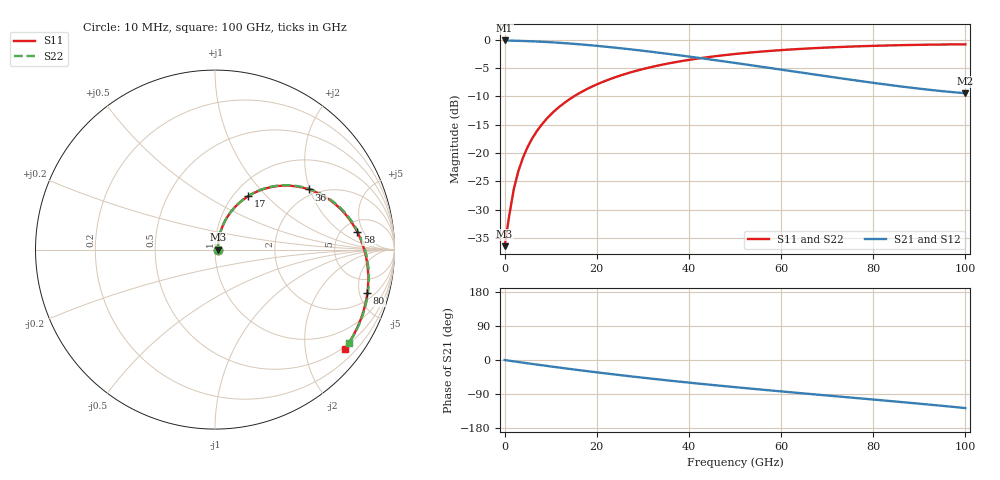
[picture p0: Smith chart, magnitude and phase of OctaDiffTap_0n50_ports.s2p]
#  GHZ S DB R 50.0
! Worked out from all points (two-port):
!   102 points, 10 MHz to 100 GHz, reference 50 ohm
!   highest |S21| = -0.13 dB at 10 MHz (marker M1); lowest = -9.5 dB at 100 GHz (marker M2)
!   |S21| within 3 dB of the highest: start of sweep to 41.39 GHz
!   lowest |S11| = -36.5 dB at 10 MHz (marker M3), VSWR 1.03, Z = 51.5 + j0.0248 ohm
!   |S11| at or under -10 dB: start of sweep to 15.08 GHz
!   |S22| runs from -36.5 to -0.8 dB; largest |S21 - S12| = 2e-09
!   S11 on the Smith chart (normalised r, x): 10 MHz: 1.03, +0.00; 17 GHz: 1.17, +0.79; 36 GHz: 1.81, +1.98; 58 GHz: 6.83, +3.74; 80 GHz: 2.69, -5.93; 100 GHz: 0.45, -2.88
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0.01  -36.48 0.9  -0.13 -0.0  -0.13 -0.0  -36.48 0.9
1  -31.13 53.7  -0.15 -1.9  -0.15 -1.9  -31.14 53.7
2  -26.41 66.9  -0.17 -3.6  -0.17 -3.6  -26.44 66.9
3  -23.20 71.2  -0.20 -5.3  -0.20 -5.3  -23.22 71.4
4  -20.83 72.6  -0.22 -7.0  -0.22 -7.0  -20.84 72.8
5  -18.96 72.7  -0.25 -8.7  -0.25 -8.7  -18.97 72.8
7  -16.16 71.4  -0.32 -12.0  -0.32 -12.0  -16.17 71.5
10  -13.24 67.8  -0.45 -17.0  -0.45 -17.0  -13.24 67.9
13  -11.15 63.7  -0.61 -21.8  -0.61 -21.8  -11.15 63.9
17  -9.09 58.0  -0.86 -28.0  -0.86 -28.0  -9.10 58.3
25  -6.36 46.9  -1.49 -39.8  -1.49 -39.8  -6.37 47.3
34  -4.45 35.1  -2.35 -52.0  -2.35 -52.0  -4.45 35.6
36  -4.13 32.6  -2.55 -54.6  -2.55 -54.6  -4.13 33.1
43  -3.21 24.1  -3.31 -63.3  -3.31 -63.3  -3.21 24.7
51  -2.44 14.9  -4.22 -72.8  -4.22 -72.8  -2.45 15.7
58  -1.96 7.2  -5.04 -80.6  -5.04 -80.6  -1.96 8.1
67  -1.50 -2.4  -6.11 -90.4  -6.11 -90.4  -1.51 -1.3
73  -1.28 -8.7  -6.82 -96.8  -6.82 -96.8  -1.29 -7.4
80  -1.08 -16.0  -7.62 -104.3  -7.62 -104.3  -1.09 -14.4
84  -1.00 -20.2  -8.05 -108.7  -8.05 -108.7  -1.00 -18.5
92  -0.88 -28.7  -8.83 -117.5  -8.83 -117.5  -0.88 -26.7
100  -0.82 -37.5  -9.45 -126.9  -9.45 -126.9  -0.82 -35.1
